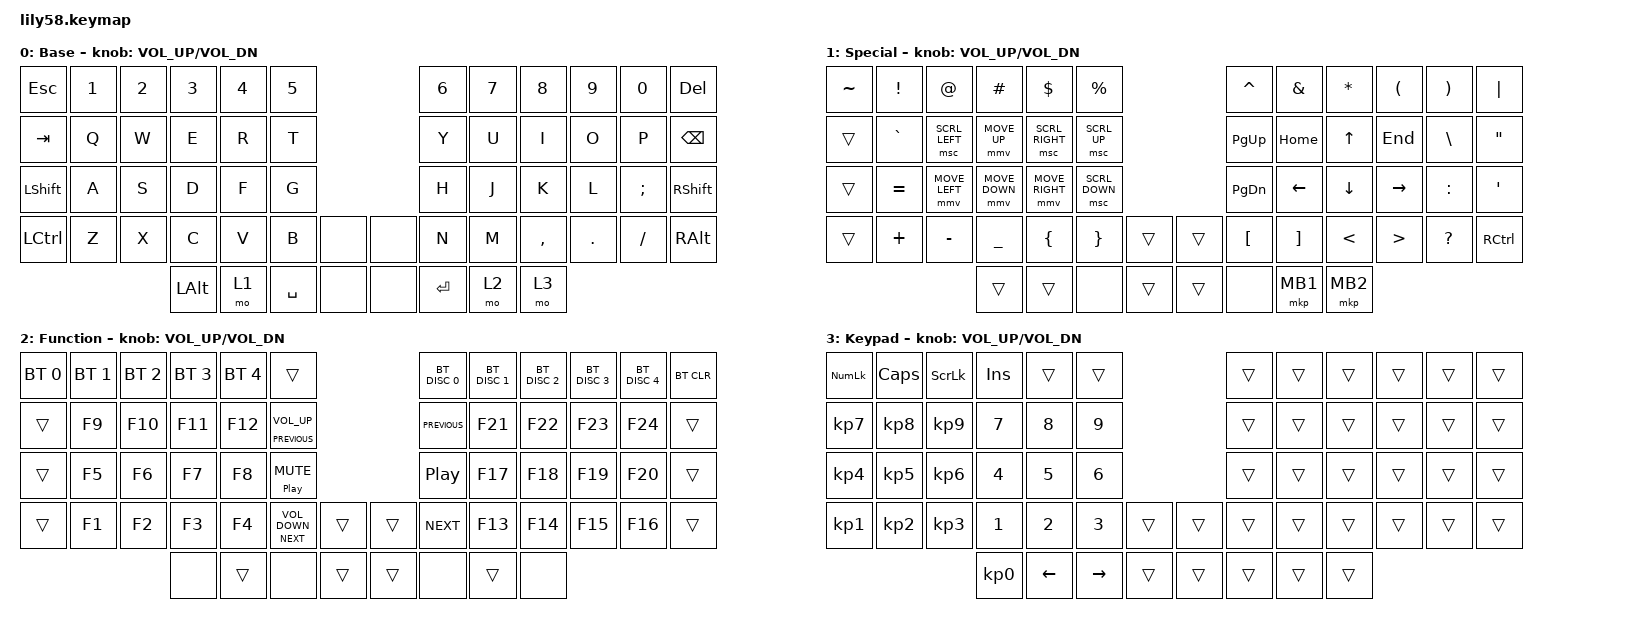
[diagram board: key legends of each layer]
/*
 * Copyright (c) 2020 The ZMK Contributors
 *
 * SPDX-License-Identifier: MIT
 */

#include <behaviors.dtsi>
#include <dt-bindings/zmk/bt.h>
#include <dt-bindings/zmk/keys.h>
#include <dt-bindings/zmk/pointing.h>

#define ZMK_POINTING_DEFAULT_MOVE_VAL 4096  // default: 600
#define ZMK_POINTING_DEFAULT_SCRL_VAL 32    // default: 10

&mmv { time-to-max-speed-ms = <500>; };

/ {
    combos { compatible = "zmk,combos"; };

    keymap {
        compatible = "zmk,keymap";

        default_layer {
            // ------------------------------------------------------------------------------------------------------------

            display-name = "Base";
            bindings = <
&kp ESCAPE        &kp N1  &kp N2  &kp N3        &kp N4  &kp N5                     &kp N6     &kp N7  &kp N8     &kp N9   &kp N0    &kp DELETE
&kp TAB           &kp Q   &kp W   &kp E         &kp R   &kp T                      &kp Y      &kp U   &kp I      &kp O    &kp P     &kp BACKSPACE
&kp LEFT_SHIFT    &kp A   &kp S   &kp D         &kp F   &kp G                      &kp H      &kp J   &kp K      &kp L    &kp SEMI  &kp RIGHT_SHIFT
&kp LEFT_CONTROL  &kp Z   &kp X   &kp C         &kp V   &kp B      &none    &none  &kp N      &kp M   &kp COMMA  &kp DOT  &kp FSLH  &kp RIGHT_ALT
                                  &kp LEFT_ALT  &mo 1   &kp SPACE  &none    &none  &kp ENTER  &mo 2   &mo 3
            >;

            sensor-bindings = <&inc_dec_kp C_VOL_UP C_VOL_DN>;
        };

        special_layer {
            // ------------------------------------------------------------------------------------------------------------

            display-name = "Special";
            bindings = <
&kp TILDE  &kp EXCLAMATION  &kp AT_SIGN     &kp HASH        &kp DOLLAR       &kp PERCENT                        &kp CARET         &kp AMPERSAND      &kp ASTERISK   &kp LEFT_PARENTHESIS  &kp RIGHT_PARENTHESIS  &kp PIPE
&trans     &kp GRAVE        &msc SCRL_LEFT  &mmv MOVE_UP    &msc SCRL_RIGHT  &msc SCRL_UP                       &kp PG_UP         &kp HOME           &kp UP         &kp END               &kp BACKSLASH          &kp DQT
&trans     &kp EQUAL        &mmv MOVE_LEFT  &mmv MOVE_DOWN  &mmv MOVE_RIGHT  &msc SCRL_DOWN                     &kp PG_DN         &kp LEFT           &kp DOWN       &kp RIGHT             &kp COLON              &kp SQT
&trans     &kp PLUS         &kp MINUS       &kp UNDERSCORE  &kp LEFT_BRACE   &kp RIGHT_BRACE  &trans    &trans  &kp LEFT_BRACKET  &kp RIGHT_BRACKET  &kp LESS_THAN  &kp GREATER_THAN      &kp QUESTION           &kp RIGHT_CONTROL
                                            &trans          &trans           &none            &trans    &trans  &none             &mkp MB1           &mkp MB2
            >;

            sensor-bindings = <&inc_dec_kp C_VOL_UP C_VOL_DN>;
        };

        function_layer {
            display-name = "Function";
            bindings = <
&bt BT_SEL 0  &bt BT_SEL 1  &bt BT_SEL 2  &bt BT_SEL 3  &bt BT_SEL 4  &trans                                        &bt BT_DISC 0     &bt BT_DISC 1  &bt BT_DISC 2  &bt BT_DISC 3  &bt BT_DISC 4  &bt BT_CLR
&trans        &kp F9        &kp F10       &kp F11       &kp F12       &mt C_PREVIOUS C_VOLUME_UP                    &kp C_PREVIOUS    &kp F21        &kp F22        &kp F23        &kp F24        &trans
&trans        &kp F5        &kp F6        &kp F7        &kp F8        &mt C_PP C_MUTE                               &kp C_PLAY_PAUSE  &kp F17        &kp F18        &kp F19        &kp F20        &trans
&trans        &kp F1        &kp F2        &kp F3        &kp F4        &mt C_NEXT C_VOLUME_DOWN    &trans    &trans  &kp C_NEXT        &kp F13        &kp F14        &kp F15        &kp F16        &trans
                                          &none         &trans        &none                       &trans    &trans  &none             &trans         &none
            >;

            sensor-bindings = <&inc_dec_kp C_VOL_UP C_VOL_DN>;
        };

        keypad_layer {
            display-name = "Keypad";
            bindings = <
&kp KP_NUMLOCK   &kp CAPSLOCK     &kp SCROLLLOCK   &kp INSERT       &trans    &trans                       &trans  &trans  &trans  &trans  &trans  &trans
&kp KP_NUMBER_7  &kp KP_NUMBER_8  &kp KP_NUMBER_9  &kp N7           &kp N8    &kp N9                       &trans  &trans  &trans  &trans  &trans  &trans
&kp KP_NUMBER_4  &kp KP_NUMBER_5  &kp KP_NUMBER_6  &kp N4           &kp N5    &kp N6                       &trans  &trans  &trans  &trans  &trans  &trans
&kp KP_NUMBER_1  &kp KP_NUMBER_2  &kp KP_NUMBER_3  &kp N1           &kp N2    &kp N3     &trans    &trans  &trans  &trans  &trans  &trans  &trans  &trans
                                                   &kp KP_NUMBER_0  &kp LEFT  &kp RIGHT  &trans    &trans  &trans  &trans  &trans
            >;

            sensor-bindings = <&inc_dec_kp C_VOL_UP C_VOL_DN>;
        };
    };
};
